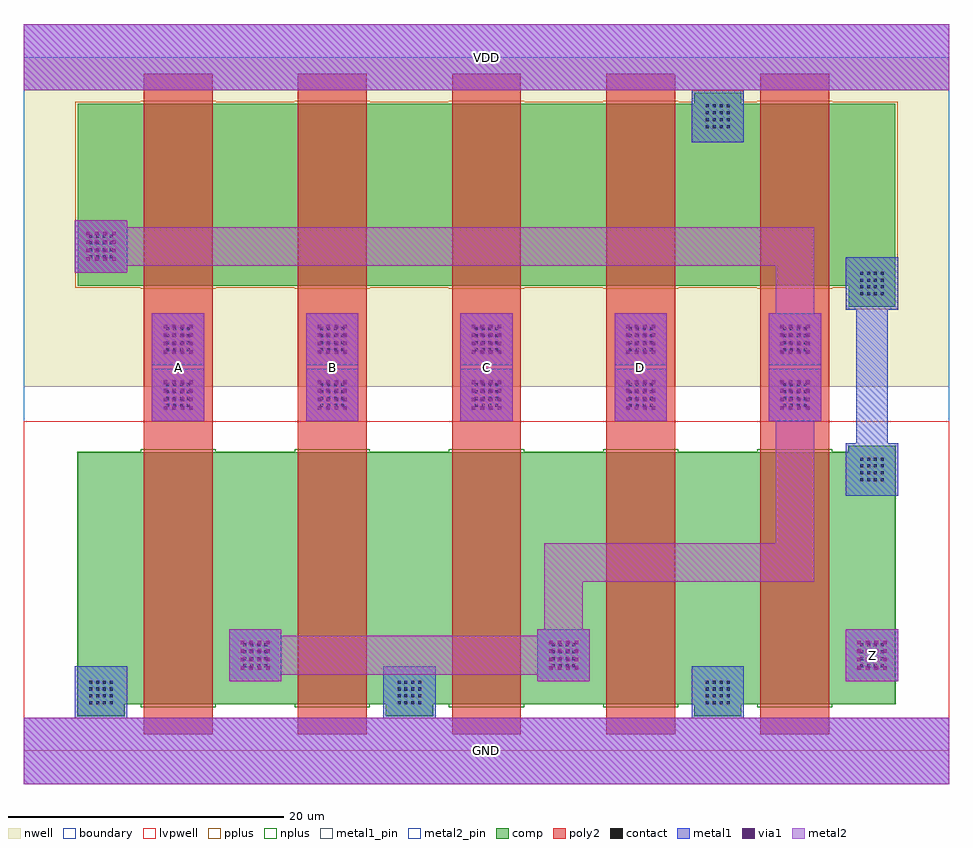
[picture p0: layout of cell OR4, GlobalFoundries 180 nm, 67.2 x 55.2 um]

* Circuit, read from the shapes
.subckt OR4 A B C D GND VDD Z
XM1 n1 A GND VSUBS nfet_03v3 w=18.3u l=5u
XM2 GND B n1 VSUBS nfet_03v3 w=18.3u l=5u
XM3 n1 C GND VSUBS nfet_03v3 w=18.3u l=5u
XM4 GND D n1 VSUBS nfet_03v3 w=18.3u l=5u
XM5 Z n1 GND VSUBS nfet_03v3 w=18.3u l=5u
XM6 n2 A n1 n3 pfet_03v3 w=13.2u l=5u
XM7 n4 B n2 n3 pfet_03v3 w=13.2u l=5u
XM8 n5 C n4 n3 pfet_03v3 w=13.2u l=5u
XM9 VDD D n5 n3 pfet_03v3 w=13.2u l=5u
XM10 Z n1 VDD n3 pfet_03v3 w=13.2u l=5u
.ends

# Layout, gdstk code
import gdstk
lib = gdstk.Library(unit=1e-6, precision=1e-09)
def R(c, l, rs):  # rectangles x0, y0, x1, y1
    for r in rs: c.add(gdstk.rectangle(r[:2], r[2:], *l))
def A(c, l, x, y, w, h, nx, ny, dx, dy):  # array of equal rectangles
    R(c, l, [(x+i*dx, y+j*dy, x+i*dx+w, y+j*dy+h) for i in range(nx) for j in range(ny)])
boundary = (0, 0)
nwell = (21, 0)
comp = (22, 0)
poly2 = (30, 0)
pplus = (31, 0)
nplus = (32, 0)
contact = (33, 0)
metal1 = (34, 0)
metal1_pin = (34, 10)
via1 = (35, 0)
metal2 = (36, 0)
metal2_pin = (36, 10)
lvpwell = (204, 0)

or4 = lib.new_cell('OR4')
R(or4, boundary, [(0,0,67.2,50.4)])
R(or4, nwell, [(0,26.45,67.2,50.4)])
A(or4, comp, 3.9, 2.55, 3.4, 0.85, 3, 1, 22.4, 0)
R(or4, comp, [(3.9,3.4,63.3,21.7), (59.9,21.7,63.3,22.15), (59.9,32.25,63.3,33.8), (3.9,33.8,63.3,47), (48.7,47,52.1,47.8)])
A(or4, poly2, 8.7, 1.2, 5, 48, 5, 1, 11.2, 0)
A(or4, pplus, 8.47, 33.57, 5.46, 0.07, 5, 2, 11.2, 13.59)
R(or4, pplus, [(59.74,32.09,63.46,33.64), (3.74,33.64,63.46,47.16), (48.54,47.16,52.26,47.96)])
A(or4, nplus, 3.88, 2.53, 3.44, 0.85, 3, 1, 22.4, 0)
A(or4, nplus, 8.47, 3.17, 5.46, 0.21, 5, 2, 11.2, 18.55)
R(or4, nplus, [(3.88,3.38,63.32,21.72), (59.88,21.72,63.32,22.17)])
A(or4, contact, 4.74, 3.39, 0.22, 0.22, 4, 4, 0.5, 0.5)
A(or4, contact, 27.14, 3.39, 0.22, 0.22, 4, 4, 0.5, 0.5)
A(or4, contact, 49.54, 3.39, 0.22, 0.22, 4, 4, 0.5, 0.5)
A(or4, contact, 15.94, 6.09, 0.22, 0.22, 4, 4, 0.5, 0.5)
A(or4, contact, 38.34, 6.09, 0.22, 0.22, 4, 4, 0.5, 0.5)
A(or4, contact, 60.74, 6.09, 0.22, 0.22, 4, 4, 0.5, 0.5)
A(or4, contact, 60.74, 19.59, 0.22, 0.22, 4, 4, 0.5, 0.5)
A(or4, contact, 10.34, 24.99, 0.22, 0.22, 4, 4, 0.5, 0.5)
A(or4, contact, 21.54, 24.99, 0.22, 0.22, 4, 4, 0.5, 0.5)
A(or4, contact, 32.74, 24.99, 0.22, 0.22, 4, 4, 0.5, 0.5)
A(or4, contact, 43.94, 24.99, 0.22, 0.22, 4, 4, 0.5, 0.5)
A(or4, contact, 55.14, 24.99, 0.22, 0.22, 4, 4, 0.5, 0.5)
A(or4, contact, 10.34, 29.04, 0.22, 0.22, 4, 4, 0.5, 0.5)
A(or4, contact, 21.54, 29.04, 0.22, 0.22, 4, 4, 0.5, 0.5)
A(or4, contact, 32.74, 29.04, 0.22, 0.22, 4, 4, 0.5, 0.5)
A(or4, contact, 43.94, 29.04, 0.22, 0.22, 4, 4, 0.5, 0.5)
A(or4, contact, 55.14, 29.04, 0.22, 0.22, 4, 4, 0.5, 0.5)
A(or4, contact, 60.74, 33.09, 0.22, 0.22, 4, 4, 0.5, 0.5)
A(or4, contact, 4.74, 35.79, 0.22, 0.22, 4, 4, 0.5, 0.5)
A(or4, contact, 49.54, 45.24, 0.22, 0.22, 4, 4, 0.5, 0.5)
A(or4, metal1, 3.7, 2.4, 3.8, 3.75, 3, 1, 22.4, 0)
A(or4, metal1, 14.9, 5.05, 3.8, 3.8, 3, 1, 22.4, 0)
A(or4, metal1, 9.3, 23.95, 3.8, 3.8, 5, 2, 11.2, 4.05)
R(or4, metal1, [(0,-2.4,67.2,2.4), (59.7,18.55,63.5,22.35), (60.45,22.35,62.75,32.05), (59.7,32.05,63.5,35.85), (3.7,34.75,7.5,38.55), (48.5,44.2,52.3,48), (0,48,67.2,52.8)])
R(or4, metal1_pin, [(0,-2.4,67.2,2.4), (0,48,67.2,52.8)])
A(or4, via1, 15.74, 5.89, 0.26, 0.26, 4, 4, 0.62, 0.62)
A(or4, via1, 38.14, 5.89, 0.26, 0.26, 4, 4, 0.62, 0.62)
A(or4, via1, 60.54, 5.89, 0.26, 0.26, 4, 4, 0.62, 0.62)
A(or4, via1, 10.14, 24.79, 0.26, 0.26, 4, 4, 0.62, 0.62)
A(or4, via1, 21.34, 24.79, 0.26, 0.26, 4, 4, 0.62, 0.62)
A(or4, via1, 32.54, 24.79, 0.26, 0.26, 4, 4, 0.62, 0.62)
A(or4, via1, 43.74, 24.79, 0.26, 0.26, 4, 4, 0.62, 0.62)
A(or4, via1, 54.94, 24.79, 0.26, 0.26, 4, 4, 0.62, 0.62)
A(or4, via1, 10.14, 28.84, 0.26, 0.26, 4, 4, 0.62, 0.62)
A(or4, via1, 21.34, 28.84, 0.26, 0.26, 4, 4, 0.62, 0.62)
A(or4, via1, 32.54, 28.84, 0.26, 0.26, 4, 4, 0.62, 0.62)
A(or4, via1, 43.74, 28.84, 0.26, 0.26, 4, 4, 0.62, 0.62)
A(or4, via1, 54.94, 28.84, 0.26, 0.26, 4, 4, 0.62, 0.62)
A(or4, via1, 4.54, 35.59, 0.26, 0.26, 4, 4, 0.62, 0.62)
A(or4, metal2, 9.3, 23.95, 3.8, 7.85, 5, 1, 11.2, 0)
R(or4, metal2, [(0,-2.4,67.2,2.4), (14.9,5.05,18.7,5.55), (37.3,5.05,41.1,5.55), (59.7,5.05,63.5,8.85), (14.9,5.55,41.1,8.35), (14.9,8.35,18.7,8.85), (37.3,8.35,41.1,8.85), (37.8,8.85,40.6,12.3), (37.8,12.3,57.4,15.1), (54.6,15.1,57.4,23.95), (54.6,31.8,57.4,35.25), (3.7,34.75,7.5,35.25), (3.7,35.25,57.4,38.05), (3.7,38.05,7.5,38.55), (0,48,67.2,52.8)])
A(or4, metal2_pin, 9.3, 23.95, 3.8, 7.85, 4, 1, 11.2, 0)
R(or4, metal2_pin, [(59.7,5.05,63.5,8.85)])
R(or4, lvpwell, [(0,0,67.2,23.95)])
or4.add(gdstk.Label('VDD', (33.6,50.4), layer=34, texttype=10))
or4.add(gdstk.Label('GND', (33.6,0), layer=34, texttype=10))
or4.add(gdstk.Label('Z', (61.6,6.95), layer=36, texttype=10))
or4.add(gdstk.Label('D', (44.8,27.875), layer=36, texttype=10))
or4.add(gdstk.Label('B', (22.4,27.875), layer=36, texttype=10))
or4.add(gdstk.Label('C', (33.6,27.875), layer=36, texttype=10))
or4.add(gdstk.Label('A', (11.2,27.875), layer=36, texttype=10))

lib.write_gds('OR4.gds')
